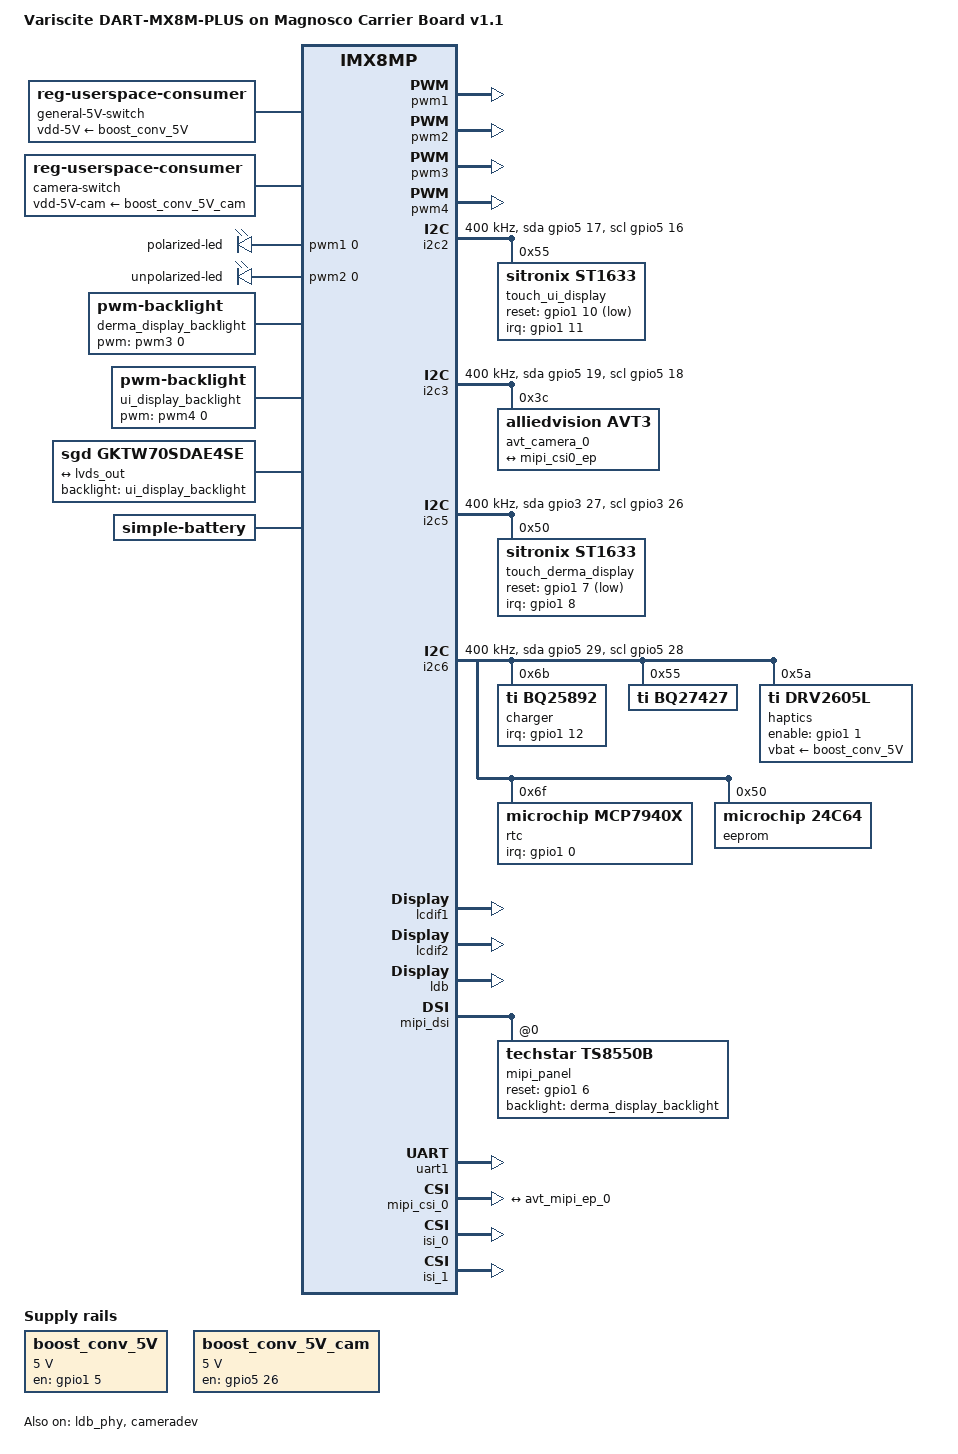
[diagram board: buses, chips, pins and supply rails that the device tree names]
// SPDX-License-Identifier: (GPL-2.0+ OR MIT)
/*
 * Copyright 2019 NXP
 * Copyright 2020-2021 Variscite Ltd.
 */
#include <dt-bindings/input/ti-drv260x.h>

#include "imx8mp-var-dart.dtsi"

/ {
	model = "Variscite DART-MX8M-PLUS on Magnosco Carrier Board v1.1";

	aliases {
		display0 = &mipi_panel;
		display1 = &lvds_panel;
	};

	chosen {
		stdout-path = &uart1;
	};

	boost_conv_5V: boost_converter_5V {
		compatible = "regulator-gpio";

		regulator-name = "BOOST_CONV_5V";
		regulator-type = "voltage";
		regulator-min-microvolt = <5000000>;
		regulator-max-microvolt = <5000000>;

		enable-gpios = <&gpio1 5 GPIO_ACTIVE_HIGH>;
		states = <5000000 0x1
			  	  0000000 0x0>;
		
		enable-active-high;
		startup-delay-us = <200>;
	};

	general-5V-switch {
		compatible = "reg-userspace-consumer";
		regulator-name = "general-5V-consumer";
		regulator-supplies = "vdd-5V";
		vdd-5V-supply = <&boost_conv_5V>;
		regulator-boot-on;
	};

	boost_conv_5V_cam: boost_converter_5V_cam {
		compatible = "regulator-gpio";

		regulator-name = "BOOST_CONV_5V_CAM";
		regulator-type = "voltage";
		regulator-min-microvolt = <5000000>;
		regulator-max-microvolt = <5000000>;

		enable-gpios = <&gpio5 26 GPIO_ACTIVE_HIGH>;
		states = <5000000 0x1
			  	  0000000 0x0>;
		
		enable-active-high;
		startup-delay-us = <5000000>; // time for Camera Boot 5s
	};

	camera-switch {
		compatible = "reg-userspace-consumer";
		regulator-name = "camera-consumer";
		regulator-supplies = "vdd-5V-cam";
		vdd-5V-cam-supply = <&boost_conv_5V_cam>;
		regulator-boot-on;
	};

	led_ring_driver: led-ring-driver {
		compatible = "pwm-leds";
		status = "okay";

		ring-1 {
			label = "polarized-led";
			pwms = <&pwm1 0 1000000>;
			max-brightness = <100>;
		};

		ring-2 {
			label = "unpolarized-led";
			pwms = <&pwm2 0 1000000>;
			max-brightness = <100>;
		};
	};

	derma_display_backlight: derma-display-backlight {
		compatible = "pwm-backlight";
		pwms = <&pwm3 0 1000000>;
		status = "okay";

		brightness-levels = < 0  1  2  3  4  5  6  7  8  9
				     10 11 12 13 14 15 16 17 18 19
				     20 21 22 23 24 25 26 27 28 29
				     30 31 32 33 34 35 36 37 38 39
				     40 41 42 43 44 45 46 47 48 49
				     50 51 52 53 54 55 56 57 58 59
				     60 61 62 63 64 65 66 67 68 69
				     70 71 72 73 74 75 76 77 78 79
				     80 81 82 83 84 85 86 87 88 89
				     90 91 92 93 94 95 96 97 98 99
				    100>;
		default-brightness-level = <100>;
	};

	ui_display_backlight: ui-display-backlight {
		compatible = "pwm-backlight";
		pwms = <&pwm4 0 1000000>;
		status = "okay";

		brightness-levels = < 0  1  2  3  4  5  6  7  8  9
				     10 11 12 13 14 15 16 17 18 19
				     20 21 22 23 24 25 26 27 28 29
				     30 31 32 33 34 35 36 37 38 39
				     40 41 42 43 44 45 46 47 48 49
				     50 51 52 53 54 55 56 57 58 59
				     60 61 62 63 64 65 66 67 68 69
				     70 71 72 73 74 75 76 77 78 79
				     80 81 82 83 84 85 86 87 88 89
				     90 91 92 93 94 95 96 97 98 99
				    100>;
		default-brightness-level = <0>;
	};

	lvds_panel: panel-lvds {
		compatible = "sgd,gktw70sdae4se", "panel-lvds"; // maybe only panel-lvds?
		backlight = <&ui_display_backlight>;
		width-mm = <27>;
		height-mm = <68>;
		label = "gktw70sdae4se"; // can we change that?
		data-mapping = "vesa-24";
		status = "okay";

		panel-timing {
			clock-frequency = <30000000>;
			hactive = <376>;
			vactive = <960>;
			hback-porch = <30>;
			hfront-porch = <56>;
			vback-porch = <30>;
			vfront-porch = <60>;
			hsync-len = <10>;
			vsync-len = <10>;
			hsync-active = <0>;
			vsync-active = <0>;
			de-active = <1>;
		};

		port {
			panel_in: endpoint {
				remote-endpoint = <&lvds_out>;
			};
		};
	};

	bat: battery {
		compatible = "simple-battery";
		voltage-min-design-microvolt = <3200000>;
		energy-full-design-microwatt-hours = <15910000>;
		charge-full-design-microamp-hours = <4300000>;
	};
};

// pwm node for led1 ring
&pwm1 {
	pinctrl-names = "default";
	pinctrl-0 = <&pinctrl_pwm1>;
	status = "okay";
};

// pwm node for led2 ring
&pwm2 {
	pinctrl-names = "default";
	pinctrl-0 = <&pinctrl_pwm2>;
	status = "okay";
};

// pwm node for mipi derma display backlight
&pwm3 {
	pinctrl-names = "default";
	pinctrl-0 = <&pinctrl_pwm3>;
	status = "okay";
};

// pwm node for lvds ui display backlight
&pwm4 {
	pinctrl-names = "default";
	pinctrl-0 = <&pinctrl_pwm4>;
	status = "okay";
};

&i2c2 {
	clock-frequency = <400000>;
	pinctrl-names = "default";
	pinctrl-0 = <&pinctrl_i2c2>;
	scl-gpios = <&gpio5 16 GPIO_ACTIVE_HIGH>;
	sda-gpios = <&gpio5 17 GPIO_ACTIVE_HIGH>;
	status = "okay";

	touch_ui_display: sitronix_ts@55 {
		compatible = "sitronix,st1633";
		reg = <0x55>;
		pinctrl-names = "default";
		pinctrl-0 = <&pinctrl_ui_disp_captouch>;
		reset-gpios = <&gpio1 10 GPIO_ACTIVE_LOW>;
		interrupt-parent = <&gpio1>;
		interrupts = <11 IRQ_TYPE_EDGE_FALLING>;
		touchscreen-size-x = <376>;
		touchscreen-size-y = <960>;
		wakeup-source;
		status = "okay";
	};
};

&i2c3 {
	clock-frequency = <400000>;
	pinctrl-names = "default";
	pinctrl-0 = <&pinctrl_i2c3>;
	scl-gpios = <&gpio5 18 GPIO_ACTIVE_HIGH>;
	sda-gpios = <&gpio5 19 GPIO_ACTIVE_HIGH>;
	status = "okay";

	avt_camera_0: avt_camera_0@3c {
		compatible = "alliedvision,avt3"; /*"alliedvision,avt_csi2";*/
		reg = <0x3c>;
		clocks = <&clk IMX8MP_CLK_IPP_DO_CLKO2>;
		clock-names = "csi_mclk";
		assigned-clocks = <&clk IMX8MP_CLK_IPP_DO_CLKO2>;
		assigned-clock-parents = <&clk IMX8MP_CLK_24M>;
		assigned-clock-rates = <24000000>;
		mipi_csi;
		csi_id = <0>;
		mclk = <24000000>;
		mclk_source = <0>;
		
		bcrm_wait_timeout = <5111>; 
		streamon_delay = <80>; 
		x_force_reset_on_init;

		avt-ignore-yuv420_8_leg_avail;
		avt-ignore-yuv420_8_avail;
		avt-ignore-yuv420_10_avail;
		avt-ignore-yuv420_8_csps_avail;
		avt-ignore-yuv420_10_csps_avail;
		x_avt-ignore-yuv422_8_avail;
		avt-ignore-yuv422_10_avail;
		x_avt-ignore-rgb888_avail;
		avt-ignore-rgb666_avail;
		avt-ignore-rgb565_avail;
		avt-ignore-rgb555_avail;
		avt-ignore-rgb444_avail;
		avt-ignore-raw6_avail;
		avt-ignore-raw7_avail;
		x_avt-ignore-raw8_avail;
		x_avt-ignore-raw10_avail;
		x_avt-ignore-raw12_avail;
		avt-ignore-raw14_avail;

		status = "okay";

		port {
			avt_mipi_ep_0: endpoint {
				data-lanes = <0x01 0x02 0x03 0x04>;
				clock-lanes = <0>;
				link-frequencies = /bits/ 64 <681250000>;
				/*max-pixel-frequency = /bits/ 64 <266000000>;*/
				remote-endpoint = <&mipi_csi0_ep>;
			};
		};
	};
};

&i2c5 {
	clock-frequency = <400000>;
	pinctrl-names = "default";
	pinctrl-0 = <&pinctrl_i2c5>;
	scl-gpios = <&gpio3 26 GPIO_ACTIVE_HIGH>;
	sda-gpios = <&gpio3 27 GPIO_ACTIVE_HIGH>;
	status = "okay";

	touch_derma_display: sitronix_ts@50 {
		compatible = "sitronix,st1633";
		reg = <0x50>;
		pinctrl-names = "default";
		pinctrl-0 = <&pinctrl_derma_disp_captouch>;
		reset-gpios = <&gpio1 7 GPIO_ACTIVE_LOW>;
		interrupt-parent = <&gpio1>;
		interrupts = <8 IRQ_TYPE_EDGE_FALLING>;
		touchscreen-size-x = <480>;
		touchscreen-size-y = <480>;
		wakeup-source;
		status = "okay";
	};
};

&i2c6 {
	clock-frequency = <400000>;
	pinctrl-names = "default";
	pinctrl-0 = <&pinctrl_i2c6>;
	scl-gpios = <&gpio5 28 GPIO_ACTIVE_HIGH>;
	sda-gpios = <&gpio5 29 GPIO_ACTIVE_HIGH>;
	status = "okay";

	charger@6b {
		compatible = "ti,bq25892";
		reg = <0x6b>;

		pinctrl-names = "default";
		pinctrl-0 = <&pinctrl_charger>;
		interrupt-parent = <&gpio1>;
		interrupts = <12 IRQ_TYPE_EDGE_FALLING>;

		ti,battery-regulation-voltage = <4200000>;
		ti,charge-current = <3200000>;
		ti,termination-current = <50000>;
		ti,precharge-current = <128000>;
		ti,minimum-sys-voltage = <3600000>;
		ti,boost-voltage = <5000000>;
		ti,boost-max-current = <3200000>;
		ti,use-ilim-pin;
		ti,thermal-regulation-threshold = <90>;

		status = "okay";
	};

	bq27427: fuel-gauge@55 {
		compatible = "ti,bq27427";
		reg = <0x55>;
		monitored-battery = <&bat>;
		status = "okay";
	};

	haptics: haptics@5a {
		compatible = "ti,drv2605l";
		reg = <0x5a>;
		vbat-supply = <&boost_conv_5V>;
		pinctrl-names = "default";
		pinctrl-0 = <&pinctrl_haptic>;
		enable-gpio = <&gpio1 1 GPIO_ACTIVE_HIGH>;
		mode = <DRV260X_LRA_MODE>;
		library-sel = <DRV260X_LIB_LRA>;
		vib-rated-mv = <1800>;
		vib-overdrive-mv = <1800>;
		status = "okay";
	};

	rtc: rtc@6f {
		compatible = "microchip,mcp7940x";
		reg = <0x6f>;
		pinctrl-names = "default";
		pinctrl-0 = <&pinctrl_rtc>;
		interrupt-parent = <&gpio1>;
		interrupts = <0 IRQ_TYPE_EDGE_FALLING>;
		status = "okay";
	};

	eeprom: eeprom@50 {
		compatible = "microchip,24c64";
		reg = <0x50>;
		pagesize = <32>;
		status = "okay";
	};
};

/* MIPI-DSI */
&lcdif1 {
	status = "okay";
};

/* LVDS */
&lcdif2 {
	status = "okay";
};

&ldb {
	status = "okay";

	lvds-channel@0 {
		fsl,data-mapping = "spwg";
		fsl,data-width = <24>;
		status = "okay";

		port@1 {
			reg = <1>;

			lvds_out: endpoint {
				remote-endpoint = <&panel_in>;
			};
		};
	};
};

&ldb_phy {
	status = "okay";
};

&mipi_dsi {
	status = "okay";
	pinctrl-names = "default";
	pinctrl-0 = <&pinctrl_mipi_dsi>;
	mipi_panel: mipi_panel@0 {
		compatible = "techstar,ts8550b", "sitronix,st7701";
		backlight = <&derma_display_backlight>;
		reg = <0>;
		reset-gpios = <&gpio1 6 GPIO_ACTIVE_HIGH>;
		reset-assert-us = <10>;	// Optional
		dsi-lanes = <2>;
		video-mode = <2>;
		/* 0: burst mode
		 * 1: non-burst mode with sync event
		 * 2: non-burst mode with sync pulse
		 */
		panel-width-mm = <70>;
		panel-height-mm = <70>;
		status = "okay";
	};
};

// Console
&uart1 {
	pinctrl-names = "default";
	pinctrl-0 = <&pinctrl_uart1>;
	status = "okay";
};

&mipi_csi_0 {
	#address-cells = <1>;
	#size-cells = <0>;
	status = "okay";
	clock-frequency = <681250000>;

	port@0 {
		reg = <0>;
		mipi_csi0_ep: endpoint {
			remote-endpoint = <&avt_mipi_ep_0>;
			data-lanes = <4>;
			csis-hs-settle = <14>;
			csis-clk-settle = <2>;
			csis-wclk;
		};
	};
};

&cameradev {
	status = "okay";
};

&isi_0 {
	status = "okay";
	//interface = <3 0 2>; Fuer den Fall CSI2->ISI1
	cap_device {
		status = "okay";
	};

	m2m_device {
		status = "okay";
	};
};

&isi_1 {
	status = "okay";
	//interface = <2 0 2>; Fuer den Fall CSI1->ISI2
	cap_device {
		status = "okay";
	};
};

/* audio codec */
&wm8904 {
	status = "disabled";
};

/* synchronous audio interface */
&sai3 {
	status = "disabled";
};

/* ethernet (quality of service features)  */
&eqos {
	status = "disabled";
};

&iomuxc {
	// LED ring 1
	pinctrl_pwm1: pwm1grp {
		fsl,pins = <
			MX8MP_IOMUXC_I2C4_SDA__PWM1_OUT						0x116
		>;
	};

	// LED ring 2
	pinctrl_pwm2: pwm2grp {
		fsl,pins = <
			MX8MP_IOMUXC_I2C4_SCL__PWM2_OUT						0x116
		>;
	};

	// Backlight mipi derma display
	pinctrl_pwm3: pwm3grp {
		fsl,pins = <
			MX8MP_IOMUXC_SPDIF_TX__PWM3_OUT						0x116
		>;
	};

	// Backlight lvds ui display
	pinctrl_pwm4: pwm4grp {
		fsl,pins = <
			MX8MP_IOMUXC_GPIO1_IO15__PWM4_OUT					0x116
		>;
	};

	pinctrl_i2c2: i2c2grp {
		fsl,pins = <
			MX8MP_IOMUXC_I2C2_SCL__I2C2_SCL					0x400000a2
			MX8MP_IOMUXC_I2C2_SDA__I2C2_SDA					0x400001c2
		>;
	};

	pinctrl_i2c3: i2c3grp {
		fsl,pins = <
			MX8MP_IOMUXC_I2C3_SCL__I2C3_SCL					0x400000a2
			MX8MP_IOMUXC_I2C3_SDA__I2C3_SDA					0x400001c2
		>;
	};
	
	pinctrl_i2c5: i2c5grp {
		fsl,pins = <	
			MX8MP_IOMUXC_HDMI_DDC_SCL__I2C5_SCL				0x400000a2
			MX8MP_IOMUXC_HDMI_DDC_SDA__I2C5_SDA				0x400001c2
		>;
	};
	
	pinctrl_i2c6: i2c6grp {
		fsl,pins = <
			MX8MP_IOMUXC_UART4_RXD__I2C6_SCL				0x400000a2
			MX8MP_IOMUXC_UART4_TXD__I2C6_SDA				0x400001c2
		>;
	};

	/*
	 * GPIO1_IO12 - CHG_INT - Slew rate = fast
	 * GPIO1_IO13 - CHG_OTG - Pull-down; Slew rate = fast
	 * GPIO1_IO14 - CHG_/CE - Pull-down; Slew rate = fast
	 * GPIO4_IO23 - CHG_PSEL- Pull-up; Slew rate = fast
	 */
	pinctrl_charger: chargergrp {
		fsl,pins = <
			MX8MP_IOMUXC_GPIO1_IO12__GPIO1_IO12				0x00000010
			MX8MP_IOMUXC_GPIO1_IO13__GPIO1_IO13				0x00000110
			MX8MP_IOMUXC_GPIO1_IO14__GPIO1_IO14				0x00000110
			MX8MP_IOMUXC_SAI2_RXD0__GPIO4_IO23				0x00000150
		>;
	};

	/*
	 * GPIO1_IO10 - Reset - Drive strength = X6; Slew rate = fast; Pull-up
	 * GPIO1_IO11 - Int	  - Drive strength = X6; Slew rate = fast
	 */
	pinctrl_ui_disp_captouch: ui_disp_captouchgrp {
		fsl,pins = <
			MX8MP_IOMUXC_GPIO1_IO10__GPIO1_IO10				0x00000156
			MX8MP_IOMUXC_GPIO1_IO11__GPIO1_IO11				0x00000016
		>;
	};

	/*
	 * GPIO1_IO07 - Reset - Drive strength = X6; Slew rate = fast; Pull-up
	 * GPIO1_IO08 - Int	  - Drive strength = X6; Slew rate = fast
	 */
	pinctrl_derma_disp_captouch: derma_disp_captouchgrp {
		fsl,pins = <
			MX8MP_IOMUXC_GPIO1_IO07__GPIO1_IO07				0x00000156
			MX8MP_IOMUXC_GPIO1_IO08__GPIO1_IO08				0x00000016
		>;
	};

	/* 
	 * GPIO1_IO06 - Reset - Drive strength = X6; Slew rate = fast
	 */ 
	pinctrl_mipi_dsi: mipigrp {		
		fsl,pins = <
			MX8MP_IOMUXC_GPIO1_IO06__GPIO1_IO06 				0x16
		>;
	};

	pinctrl_haptic: hapticgrp {
		fsl,pins = <
			MX8MP_IOMUXC_GPIO1_IO01__GPIO1_IO01 				0x16
		>;
	};

	pinctrl_rtc: rtcgrp {
		fsl,pins = <
			MX8MP_IOMUXC_GPIO1_IO00__GPIO1_IO00 				0x16
		>;
	};

	pinctrl_uart1: uart1grp {
		fsl,pins = <
			MX8MP_IOMUXC_UART1_RXD__UART1_DCE_RX				0x40
			MX8MP_IOMUXC_UART1_TXD__UART1_DCE_TX				0x40
		>;
	};

	pinctrl_uart4: uart4grp {
		fsl,pins = <
			MX8MP_IOMUXC_ECSPI2_SCLK__UART4_DCE_RX				0x140
			MX8MP_IOMUXC_ECSPI2_MOSI__UART4_DCE_TX				0x140
			MX8MP_IOMUXC_ECSPI2_MISO__UART4_DCE_CTS				0x140
			MX8MP_IOMUXC_ECSPI2_SS0__UART4_DCE_RTS				0x140
		>;
	};
};
